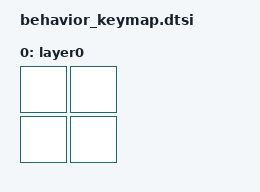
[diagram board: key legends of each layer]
#include <dt-bindings/zmk/keys.h>
#include <behaviors.dtsi>
#include <dt-bindings/zmk/kscan_mock.h>

/ {
    keymap {
        compatible = "zmk,keymap";
        layer0 {
            bindings = <
                &none &none
                &none &none
            >;
        };
    };

    chosen {
        zephyr,display = &dummy_dc;
    };
    dummy_dc: dummy_dc {
        compatible = "zephyr,dummy-dc";
        width = <128>;
        height = <64>;
    };
};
